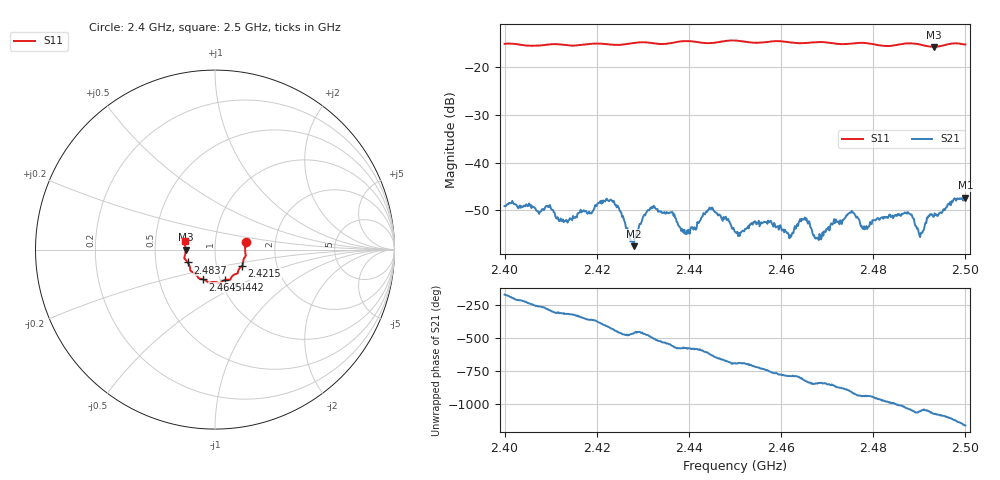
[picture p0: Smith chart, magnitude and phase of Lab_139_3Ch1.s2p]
# Hz S RI R 50
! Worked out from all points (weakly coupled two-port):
!   601 points, 2.4 GHz to 2.5 GHz, reference 50 ohm
!   highest |S21| = -47.36 dB at 2.5 GHz (marker M1); lowest = -57.6 dB at 2.428 GHz (marker M2)
!   lowest |S11| = -15.7 dB at 2.4932 GHz (marker M3), VSWR 1.39, Z = 36 - j0.0632 ohm
!   |S11| at or under -10 dB: start of sweep to end of sweep
!   S12 and S22 are empty: the file has one direction only
!   S11 on the Smith chart (normalised r, x): 2.4 GHz: 1.41, +0.12; 2.4215 GHz: 1.33, -0.25; 2.4442 GHz: 1.05, -0.37; 2.4645 GHz: 0.83, -0.29; 2.4837 GHz: 0.73, -0.11; 2.5 GHz: 0.71, +0.07
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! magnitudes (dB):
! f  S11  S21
! 2.4 GHz  -15.1  -49.2
! 2.4133 GHz  -15.4  -52.0
! 2.4167 GHz  -15.3  -50.4
! 2.4215 GHz  -15.1  -48.0
! 2.4242 GHz  -15.3  -48.9
! 2.428 GHz  -14.9  -57.6
! 2.4307 GHz  -14.8  -50.6
! 2.4333 GHz  -15.1  -50.3
! 2.4397 GHz  -14.5  -54.2
! 2.4442 GHz  -15.0  -49.9
! 2.45 GHz  -14.4  -54.5
! 2.4573 GHz  -14.7  -52.6
! 2.4622 GHz  -14.8  -55.6
! 2.4645 GHz  -15.0  -51.8
! 2.4667 GHz  -14.8  -54.1
! 2.475 GHz  -15.1  -50.5
! 2.4833 GHz  -15.6  -51.3
! 2.4837 GHz  -15.5  -51.0
! 2.4878 GHz  -15.0  -50.7
! 2.4903 GHz  -15.3  -54.8
! 2.4932 GHz  -15.7  -51.4
! 2.5 GHz  -15.3  -47.4
